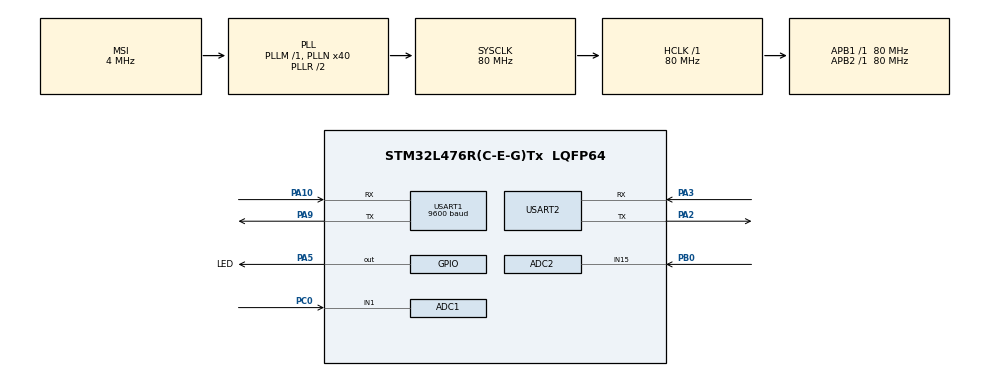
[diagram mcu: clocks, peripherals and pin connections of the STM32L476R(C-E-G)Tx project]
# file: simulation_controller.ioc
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ADC1.Channel-0\#ChannelRegularConversion=ADC_CHANNEL_1
ADC1.Channel-1\#ChannelRegularConversion=ADC_CHANNEL_1
ADC1.ContinuousConvMode=ENABLE
ADC1.DMAContinuousRequests=ENABLE
ADC1.NbrOfConversion=2
ADC1.NbrOfConversionFlag=1
ADC1.OffsetNumber-0\#ChannelRegularConversion=ADC_OFFSET_NONE
ADC1.OffsetNumber-1\#ChannelRegularConversion=ADC_OFFSET_NONE
ADC1.Rank-0\#ChannelRegularConversion=1
ADC1.Rank-1\#ChannelRegularConversion=2
ADC1.SamplingTime-0\#ChannelRegularConversion=ADC_SAMPLETIME_92CYCLES_5
ADC1.SamplingTime-1\#ChannelRegularConversion=ADC_SAMPLETIME_92CYCLES_5
ADC1.master=1
ADC2.Channel-0\#ChannelRegularConversion=ADC_CHANNEL_15
ADC2.NbrOfConversionFlag=1
ADC2.OffsetNumber-0\#ChannelRegularConversion=ADC_OFFSET_NONE
ADC2.Rank-0\#ChannelRegularConversion=1
ADC2.SamplingTime-0\#ChannelRegularConversion=ADC_SAMPLETIME_92CYCLES_5
Dma.ADC1.0.Direction=DMA_PERIPH_TO_MEMORY
Dma.ADC1.0.Instance=DMA1_Channel1
Dma.ADC1.0.MemDataAlignment=DMA_MDATAALIGN_HALFWORD
Dma.ADC1.0.MemInc=DMA_MINC_ENABLE
Dma.ADC1.0.Mode=DMA_CIRCULAR
Dma.ADC1.0.PeriphDataAlignment=DMA_PDATAALIGN_HALFWORD
Dma.ADC1.0.PeriphInc=DMA_PINC_DISABLE
Dma.ADC1.0.Priority=DMA_PRIORITY_LOW
Dma.Request0=ADC1
Mcu.Family=STM32L4
Mcu.Name=STM32L476R(C-E-G)Tx
Mcu.Package=LQFP64
NVIC.ADC1_2_IRQn=true\:0\:0\:false\:false\:true\:true\:true
NVIC.DMA1_Channel1_IRQn=true\:0\:0\:false\:false\:true\:false\:true
NVIC.PriorityGroup=NVIC_PRIORITYGROUP_4
NVIC.USART1_IRQn=true\:0\:0\:false\:false\:true\:true\:true
PA10.Mode=Asynchronous
PA10.Signal=USART1_RX
PA2.Mode=Asynchronous
PA2.Signal=USART2_TX
PA3.Mode=Asynchronous
PA3.Signal=USART2_RX
PA5.GPIO_Label=LED
PA5.Signal=GPIO_Output
PA9.Mode=Asynchronous
PA9.Signal=USART1_TX
PB0.Signal=ADCx_IN15
PC0.Signal=ADCx_IN1
ProjectManager.HeapSize=0x200
ProjectManager.StackSize=0x400
ProjectManager.TargetToolchain=STM32CubeIDE
RCC.ADCFreq_Value=32000000
RCC.AHBFreq_Value=80000000
RCC.APB1Freq_Value=80000000
RCC.APB1TimFreq_Value=80000000
RCC.APB2Freq_Value=80000000
RCC.APB2TimFreq_Value=80000000
RCC.CortexFreq_Value=80000000
RCC.HCLKFreq_Value=80000000
RCC.HSE_VALUE=8000000
RCC.HSI_VALUE=16000000
RCC.LSE_VALUE=32768
RCC.MSI_VALUE=4000000
RCC.PLLN=40
RCC.PLLSAI1N=16
RCC.SYSCLKFreq_VALUE=80000000
RCC.SYSCLKSource=RCC_SYSCLKSOURCE_PLLCLK
RCC.USBFreq_Value=32000000
RCC.VCOOutputFreq_Value=160000000
SH.ADCx_IN1.0=ADC1_IN1,IN1-Single-Ended
SH.ADCx_IN15.0=ADC2_IN15,IN15-Single-Ended
USART1.BaudRate=9600
USART1.VirtualMode-Asynchronous=VM_ASYNC
USART2.VirtualMode-Asynchronous=VM_ASYNC
board=custom

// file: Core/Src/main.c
/* USER CODE BEGIN Header */
/**
  ******************************************************************************
  * @file           : main.c
  * @brief          : Main program body
  ******************************************************************************
  * @attention
  *
  * Copyright (c) 2022 STMicroelectronics.
  * All rights reserved.
  *
  * This software is licensed under terms that can be found in the LICENSE file
  * in the root directory of this software component.
  * If no LICENSE file comes with this software, it is provided AS-IS.
  *
  ******************************************************************************
  */
/* USER CODE END Header */
#include "main.h"
#include "adc.h"
#include "dma.h"
#include "usart.h"
#include "gpio.h"

/* USER CODE BEGIN Includes */

#include <stdio.h>
#include <stdlib.h>
#include <string.h>

/* USER CODE END Includes */

void SystemClock_Config(void);
void PeriphCommonClock_Config(void);

/* USER CODE BEGIN 0 */

volatile int pot_flag = 0;
volatile uint16_t pot_value = 0;
volatile int uart_recv_flag = 0;
const uint16_t recv_buf_size = 16;
uint8_t uart_recv_buf[16];

int _write(int file, char* ptr, int len) {
	HAL_UART_Transmit(&huart2, (uint8_t*)ptr, len, 50);
	return len;
}

void HAL_ADC_ConvCpltCallback(ADC_HandleTypeDef* hadc) {
	if (hadc == &hadc2) {
		pot_flag = 1;
		pot_value = HAL_ADC_GetValue(hadc);
	}
}

void HAL_UART_RxCpltCallback(UART_HandleTypeDef *huart) {
	if (huart == &huart1) {
		uart_recv_flag = 1;
		HAL_UART_Receive_IT(&huart1, uart_recv_buf, recv_buf_size);
	}
}

/* USER CODE END 0 */

int main(void)
{

  /* MCU Configuration--------------------------------------------------------*/

  /* Reset of all peripherals, Initializes the Flash interface and the Systick. */
  HAL_Init();

  /* Configure the system clock */
  SystemClock_Config();

/* Configure the peripherals common clocks */
  PeriphCommonClock_Config();

  /* Initialize all configured peripherals */
  MX_GPIO_Init();
  MX_DMA_Init();
  MX_ADC1_Init();
  MX_USART2_UART_Init();
  MX_ADC2_Init();
  MX_USART1_UART_Init();
  /* USER CODE BEGIN 2 */

  uint16_t joystick;
  const uint16_t buf_size = 4;
  uint8_t bluetooth_buf[buf_size];

  HAL_ADCEx_Calibration_Start(&hadc1, ADC_SINGLE_ENDED);
  HAL_ADC_Start_DMA(&hadc1, (uint32_t*)&joystick, 2);

  HAL_ADCEx_Calibration_Start(&hadc2, ADC_SINGLE_ENDED);
  HAL_ADC_Start_IT(&hadc2);

  HAL_UART_Receive_IT(&huart1, uart_recv_buf, recv_buf_size);
  double acc_data[2];

  /* USER CODE END 2 */

  /* Infinite loop */
  /* USER CODE BEGIN WHILE */
  while (1)
  {
	  if (pot_flag == 1) {
		  pot_flag = 0;

		  memcpy(bluetooth_buf, (uint16_t*)&pot_value, sizeof(pot_value));
		  memcpy(&bluetooth_buf[2], &joystick, sizeof(joystick));
		  HAL_UART_Transmit(&huart1, bluetooth_buf, buf_size, 50);

		  HAL_ADC_Start_IT(&hadc2);
	  }
	  if (uart_recv_flag == 1) {
		  uart_recv_flag = 0;
		  HAL_GPIO_TogglePin(LED_GPIO_Port, LED_Pin);
		  acc_data[0] = *(double*)uart_recv_buf;
		  acc_data[1] = *(double*)(&uart_recv_buf[8]);

		  printf("acceleration: %f, angular velocity: %f\r\n", acc_data[0], acc_data[1]);
	  }

	  HAL_Delay(50);
    /* USER CODE END WHILE */

  }
}

void SystemClock_Config(void)
{
  RCC_OscInitTypeDef RCC_OscInitStruct = {0};
  RCC_ClkInitTypeDef RCC_ClkInitStruct = {0};

  /** Configure the main internal regulator output voltage
  */
  if (HAL_PWREx_ControlVoltageScaling(PWR_REGULATOR_VOLTAGE_SCALE1) != HAL_OK)
  {
    Error_Handler();
  }
  /** Initializes the RCC Oscillators according to the specified parameters
  * in the RCC_OscInitTypeDef structure.
  */
  RCC_OscInitStruct.OscillatorType = RCC_OSCILLATORTYPE_MSI;
  RCC_OscInitStruct.MSIState = RCC_MSI_ON;
  RCC_OscInitStruct.MSICalibrationValue = 0;
  RCC_OscInitStruct.MSIClockRange = RCC_MSIRANGE_6;
  RCC_OscInitStruct.PLL.PLLState = RCC_PLL_ON;
  RCC_OscInitStruct.PLL.PLLSource = RCC_PLLSOURCE_MSI;
  RCC_OscInitStruct.PLL.PLLM = 1;
  RCC_OscInitStruct.PLL.PLLN = 40;
  RCC_OscInitStruct.PLL.PLLP = RCC_PLLP_DIV7;
  RCC_OscInitStruct.PLL.PLLQ = RCC_PLLQ_DIV2;
  RCC_OscInitStruct.PLL.PLLR = RCC_PLLR_DIV2;
  if (HAL_RCC_OscConfig(&RCC_OscInitStruct) != HAL_OK)
  {
    Error_Handler();
  }
  /** Initializes the CPU, AHB and APB buses clocks
  */
  RCC_ClkInitStruct.ClockType = RCC_CLOCKTYPE_HCLK|RCC_CLOCKTYPE_SYSCLK
                              |RCC_CLOCKTYPE_PCLK1|RCC_CLOCKTYPE_PCLK2;
  RCC_ClkInitStruct.SYSCLKSource = RCC_SYSCLKSOURCE_PLLCLK;
  RCC_ClkInitStruct.AHBCLKDivider = RCC_SYSCLK_DIV1;
  RCC_ClkInitStruct.APB1CLKDivider = RCC_HCLK_DIV1;
  RCC_ClkInitStruct.APB2CLKDivider = RCC_HCLK_DIV1;

  if (HAL_RCC_ClockConfig(&RCC_ClkInitStruct, FLASH_LATENCY_4) != HAL_OK)
  {
    Error_Handler();
  }
}

void PeriphCommonClock_Config(void)
{
  RCC_PeriphCLKInitTypeDef PeriphClkInit = {0};

  /** Initializes the peripherals clock
  */
  PeriphClkInit.PeriphClockSelection = RCC_PERIPHCLK_ADC;
  PeriphClkInit.AdcClockSelection = RCC_ADCCLKSOURCE_PLLSAI1;
  PeriphClkInit.PLLSAI1.PLLSAI1Source = RCC_PLLSOURCE_MSI;
  PeriphClkInit.PLLSAI1.PLLSAI1M = 1;
  PeriphClkInit.PLLSAI1.PLLSAI1N = 16;
  PeriphClkInit.PLLSAI1.PLLSAI1P = RCC_PLLP_DIV7;
  PeriphClkInit.PLLSAI1.PLLSAI1Q = RCC_PLLQ_DIV2;
  PeriphClkInit.PLLSAI1.PLLSAI1R = RCC_PLLR_DIV2;
  PeriphClkInit.PLLSAI1.PLLSAI1ClockOut = RCC_PLLSAI1_ADC1CLK;
  if (HAL_RCCEx_PeriphCLKConfig(&PeriphClkInit) != HAL_OK)
  {
    Error_Handler();
  }
}

void Error_Handler(void)
{
  __disable_irq();
  while (1)
  {
  }
}
